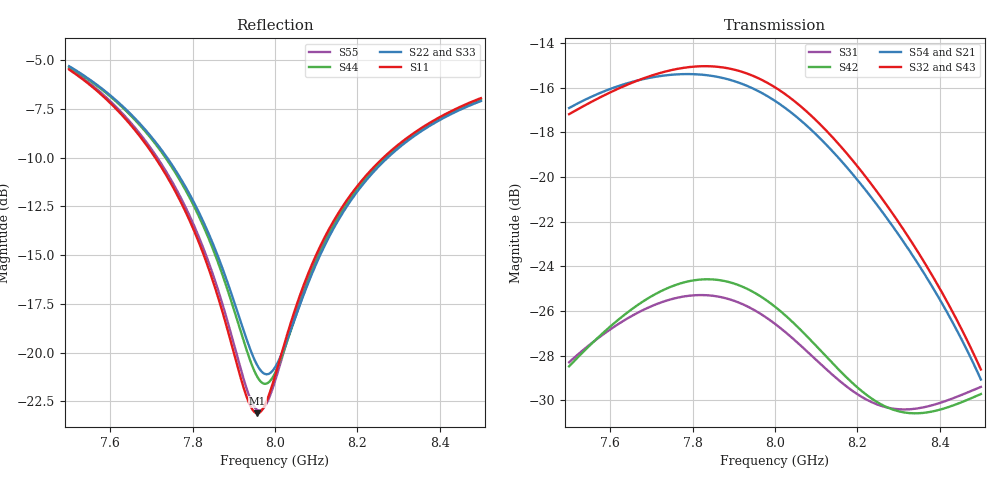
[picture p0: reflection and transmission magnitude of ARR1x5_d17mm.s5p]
! Touchstone file exported from HFSS 2024.2.0
!  File:  C:/Users/user/Documents/Ansoft/TFG_UWB-MIMO-Array.aedt
!  Generated:  12:21:52 PM Nov 15, 2026
!  Design:  ARR1x5_P01_MS2_dparam
!  Project:  TFG_UWB-MIMO-Array
!  Setup:  Setup_ch9
!  Solution:  Sweep_7p5_8p5
! Variables:
!  arr_d = 17mm
!  board_m = 13mm
!  board_x = 94mm
!  board_y = 26mm
!  cu_t = 0.035mm
!  line_w = 3.92mm
!  pad_xy = 22mm
!  pad_zn = 25mm
!  pad_zp = 33mm
!  patch_L = 7.322mm
!  patch_W = 11.421266mm
!  sub_h = 2.07mm
!  tr_l = 7.1mm
!  tr_w = 0.8mm
# GHz S MA R 50.000000
! Terminal data exported
! Port[1] = P1
! Port[2] = P2
! Port[3] = P3
! Port[4] = P4
! Port[5] = P5
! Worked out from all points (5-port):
!   1001 points, 7.5 GHz to 8.5 GHz, reference 50 ohm
!   strongest paths, dB at 7.5 GHz, 7.75 GHz, 8 GHz, 8.25 GHz, 8.5 GHz:
!     S32: -17.2, -15.2, -16.0, -20.7, -28.6
!     S43: -17.2, -15.2, -16.0, -20.9, -29.1
!     S54: -16.9, -15.4, -16.6, -21.3, -29.1
!     S21: -16.9, -15.5, -16.6, -21.4, -29.1
!     S42: -28.5, -24.9, -25.8, -30.1, -29.7
!     S31: -28.3, -25.5, -26.6, -30.2, -29.4
!   lowest |S11| = -23.1 dB at 7.957 GHz (marker M1), VSWR 1.15, Z = 56.9 + j2.87 ohm
!   |S11| at or under -10 dB: 7.709 GHz to 8.263 GHz (554.4 MHz wide, 6.94 % of centre)
